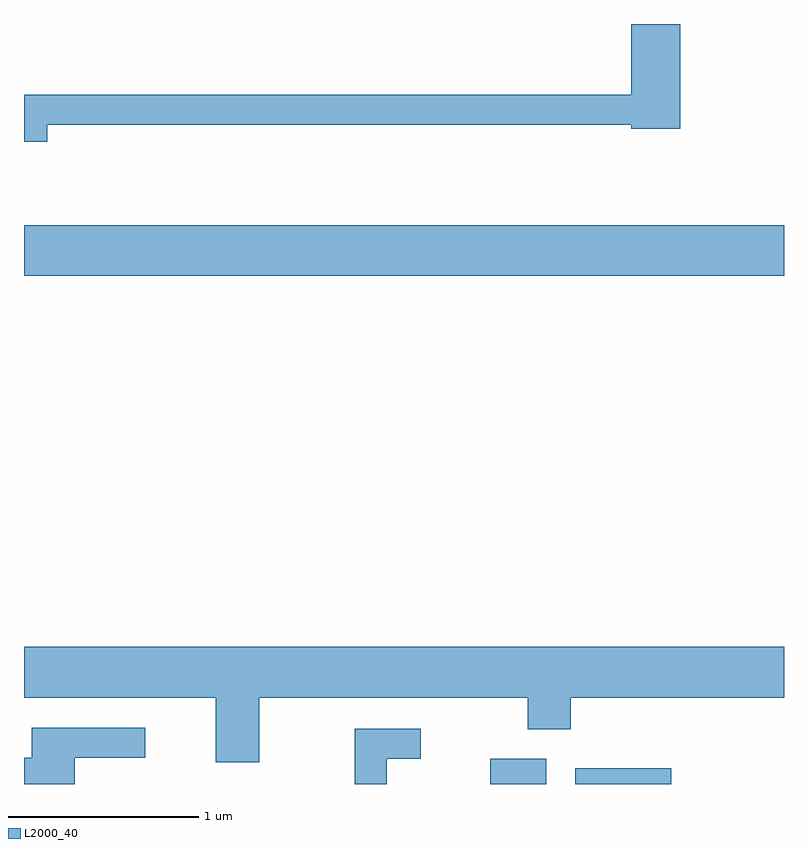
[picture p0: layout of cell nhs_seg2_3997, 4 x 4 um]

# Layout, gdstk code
import gdstk
lib = gdstk.Library(unit=1e-6, precision=1e-09)
def R(c, l, rs):  # rectangles x0, y0, x1, y1
    for r in rs: c.add(gdstk.rectangle(r[:2], r[2:], *l))
def P(c, l, *ps):  # polygons
    for p in ps: c.add(gdstk.Polygon(p, *l))
L2000_40 = (2000, 40)

nhs_seg2_3997 = lib.new_cell('nhs_seg2_3997')
R(nhs_seg2_3997, L2000_40, [(304.066,1107.802,304.359,1107.934), (304.511,1107.802,305.018,1107.884), (301.611,1110.476,305.611,1110.744)])
P(nhs_seg2_3997, L2000_40, [(301.734,1111.271),(304.806,1111.271),(304.806,1111.251),(305.064,1111.251),(305.064,1111.802),(304.806,1111.802),(304.806,1111.429),(301.611,1111.429),(301.611,1111.181),(301.734,1111.181)],
  [(302.849,1108.256),(304.261,1108.256),(304.261,1108.091),(304.489,1108.091),(304.489,1108.256),(305.611,1108.256),(305.611,1108.524),(301.611,1108.524),(301.611,1108.256),(302.621,1108.256),(302.621,1107.916),(302.849,1107.916)],
  [(301.879,1107.941),(302.248,1107.941),(302.248,1108.099),(301.651,1108.099),(301.651,1107.939),(301.611,1107.939),(301.611,1107.802),(301.879,1107.802)],
  [(303.519,1107.936),(303.698,1107.936),(303.698,1108.094),(303.351,1108.094),(303.351,1107.802),(303.519,1107.802)])

lib.write_gds('nhs_seg2_3997.gds')
